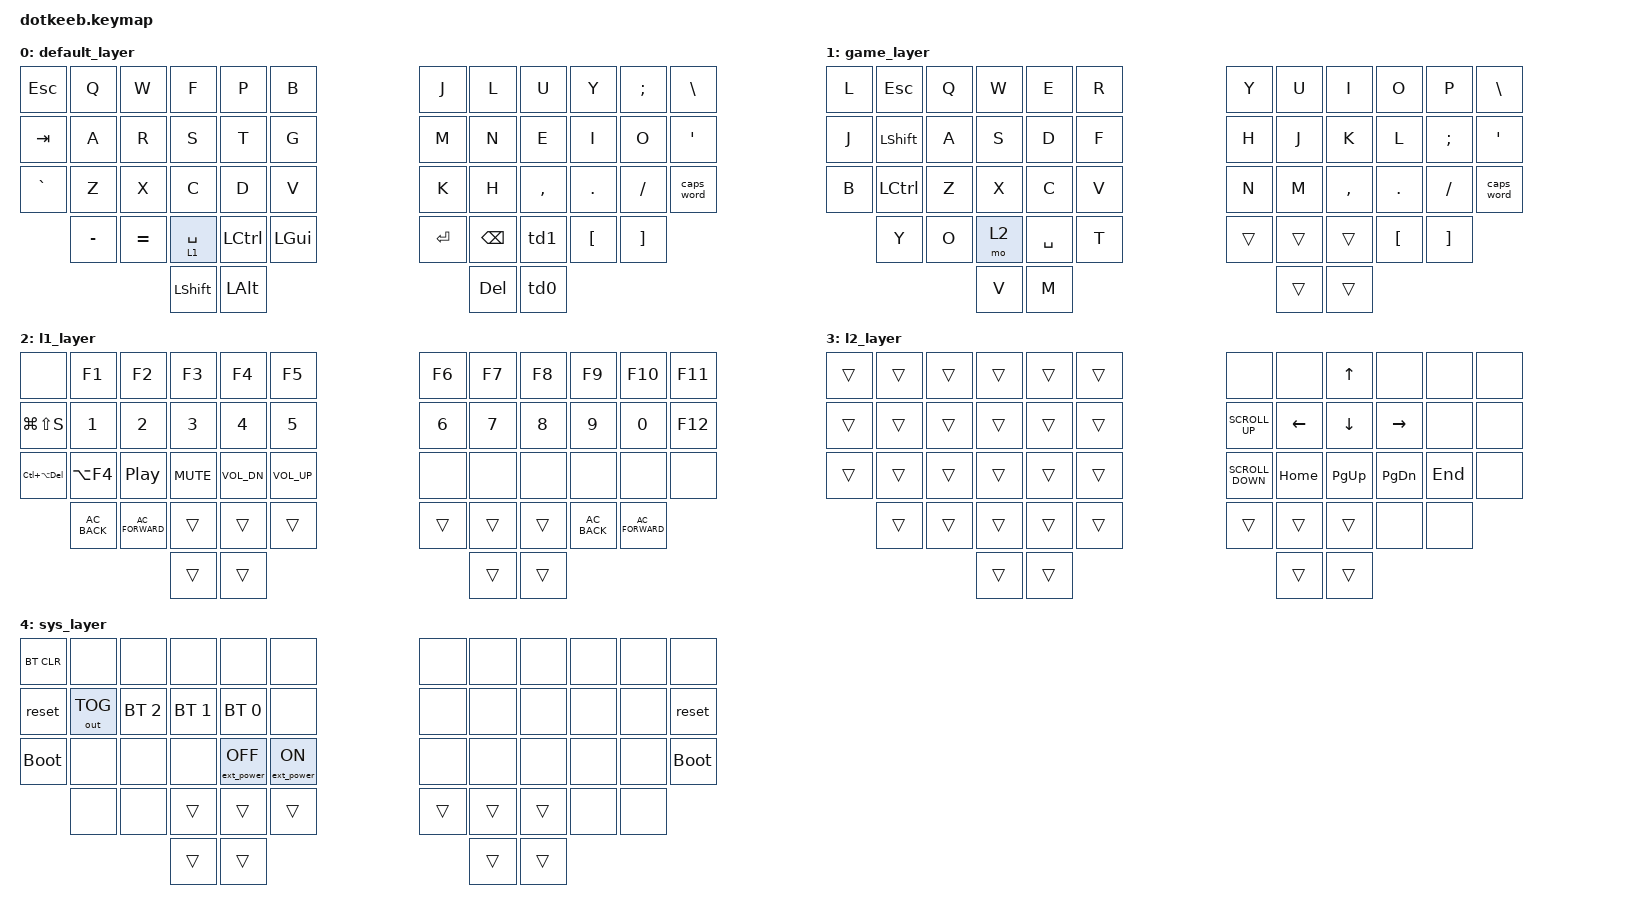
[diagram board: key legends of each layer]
#include <behaviors.dtsi>
#include <dt-bindings/zmk/bt.h>
#include <dt-bindings/zmk/keys.h>
#include <dt-bindings/zmk/outputs.h>
#include <dt-bindings/zmk/ext_power.h>

#define DEFAULT 0
#define GAME 1
#define L1 2
#define L2 3
#define SYS 4

/ {  
    combos {
        compatible = "zmk,combos";
        combo_sys {
            timeout-ms = <50>;
            key-positions = <38 39 40>;
            bindings = <&tog 4>;
        };
        combo_game {
            timeout-ms = <50>;
            key-positions = <3 15>;
            bindings = <&tog 1>;
        };
    };
    behaviors {
        td0: tap_dance_l1 {
            compatible = "zmk,behavior-tap-dance";
            label = "TAP_DANCE_L1";
            #binding-cells = <0>;
            tapping-term-ms = <350>;
            bindings = <&mo 2>, <&tog 2>;
        };
        td1: tap_dance_l2 {
            compatible = "zmk,behavior-tap-dance";
            label = "TAP_DANCE_L2";
            #binding-cells = <0>;
            tapping-term-ms = <200>;
            bindings = <&mo 3>, <&tog 3>;
        };
        qt_bl: bl-quick-tap {
            compatible = "zmk,behavior-hold-tap";
            label = "BALANCED_QUICK_TAP";
            #binding-cells = <2>;
            flavor = "balanced";
            tapping-term-ms = <200>;
            quick-tap-ms = <125>;
            global-quick-tap;
            bindings = <&mo>, <&kp>;
        };

    };
    keymap {
        compatible = "zmk,keymap";

        default_layer {
// --------------------------------------------------------------------------------------------------------------------------------------------------------------------
// |   ESC   |    Q    |    W    |    F    |    P    |    B    |                                          |    J    |    L    |    U    |    Y    |    ;    |    \    |
// |   TAB   |    A    |    R    |    S    |    T    |    G    |                                          |    M    |    N    |    E    |    I    |    O    |    '    |
// |    `    |    Z    |    X    |    C    |    D    |    V    |                                          |    K    |    H    |    ,    |    .    |    /    |   CAPS  |
//           |    -    |    =    |   L1    |  SPACE  |   GUI   |                                          | RETURN  |   BSPC  |   L2    |    [    |    ]    |
//                               |  SHIFT  |   LALT  |                                                              |    DEL  |   L1    |
            bindings = <
    &kp ESC    &kp Q     &kp W     &kp F        &kp P        &kp B                                      &kp J     &kp L     &kp U     &kp Y    &kp SEMI  &kp BSLH
    &kp TAB    &kp A     &kp R     &kp S        &kp T        &kp G                                      &kp M     &kp N     &kp E     &kp I    &kp O     &kp SQT
    &kp GRAVE  &kp Z     &kp X     &kp C        &kp D        &kp V                                      &kp K     &kp H     &kp COMMA &kp DOT  &kp FSLH  &caps_word
               &kp MINUS &kp EQUAL &mt L1 SPACE &kp LCTRL &kp LGUI                                   &kp RET   &kp BSPC  &td1      &kp LBKT &kp RBKT
                                   &kp LSHIFT   &kp LALT                                                          &kp DEL   &td0
            >;
        };

        game_layer {
            bindings = <
     &kp L      &kp ESC   &kp Q     &kp W     &kp E     &kp R                                               &kp Y     &kp U     &kp I     &kp O    &kp P     &kp BSLH
     &kp J      &kp LSHFT &kp A     &kp S     &kp D     &kp F                                               &kp H     &kp J     &kp K     &kp L    &kp SEMI  &kp SQT
     &kp B      &kp LCTRL &kp Z     &kp X     &kp C     &kp V                                               &kp N     &kp M     &kp COMMA &kp DOT  &kp FSLH  &caps_word
                &kp Y     &kp O     &mo 2     &kp SPACE &kp T                                               &trans    &trans    &trans    &kp LBKT &kp RBKT
                                    &kp V     &kp M                                                                   &trans    &trans
            >;
        };

        l1_layer {
            bindings = <
    &none           &kp F1         &kp F2         &kp F3     &kp F4       &kp F5                           &kp F6    &kp F7    &kp F8    &kp F9        &kp F10   &kp F11
    &kp LG(LS(S))   &kp N1         &kp N2         &kp N3     &kp N4       &kp N5                           &kp N6    &kp N7    &kp N8    &kp N9        &kp N0    &kp F12
    &kp LC(LA(DEL)) &kp LA(F4)     &kp C_PP       &kp C_MUTE &kp C_VOL_DN &kp C_VOL_UP                     &none     &none     &none     &none         &none     &none
                  &kp C_AC_BACK  &kp C_AC_FORWARD &trans     &trans       &trans                           &trans    &trans    &trans    &kp C_AC_BACK &kp C_AC_FORWARD
                                                  &trans     &trans                                                  &trans    &trans
            >;
        };

        l2_layer {
            bindings = <
     &trans     &trans    &trans    &trans   &trans   &trans                                             &none             &none     &kp UP    &none     &none   &none
     &trans     &trans    &trans    &trans   &trans   &trans                                             &kp K_SCROLL_UP   &kp LEFT  &kp DOWN  &kp RIGHT &none   &none
     &trans     &trans    &trans    &trans   &trans   &trans                                             &kp K_SCROLL_DOWN &kp HOME  &kp PG_UP &kp PG_DN &kp END &none
                &trans    &trans    &trans   &trans   &trans                                             &trans            &trans    &trans    &none     &none
                                    &trans   &trans                                                                        &trans    &trans
            >;
        };

        sys_layer {
            bindings = <
     &bt BT_CLR  &none        &none        &none        &none        &none                               &none   &none     &none    &none     &none  &none
     &reset      &out OUT_TOG &bt BT_SEL 2 &bt BT_SEL 1 &bt BT_SEL 0 &none                               &none   &none     &none    &none     &none  &reset
     &bootloader &none        &none        &none        &ext_power EP_OFF &ext_power EP_ON               &none   &none     &none    &none     &none  &bootloader
                 &none        &none        &trans       &trans       &trans                              &trans  &trans    &trans   &none     &none
                                                        &trans       &trans                              &trans  &trans
            >;
        };
    };
};
